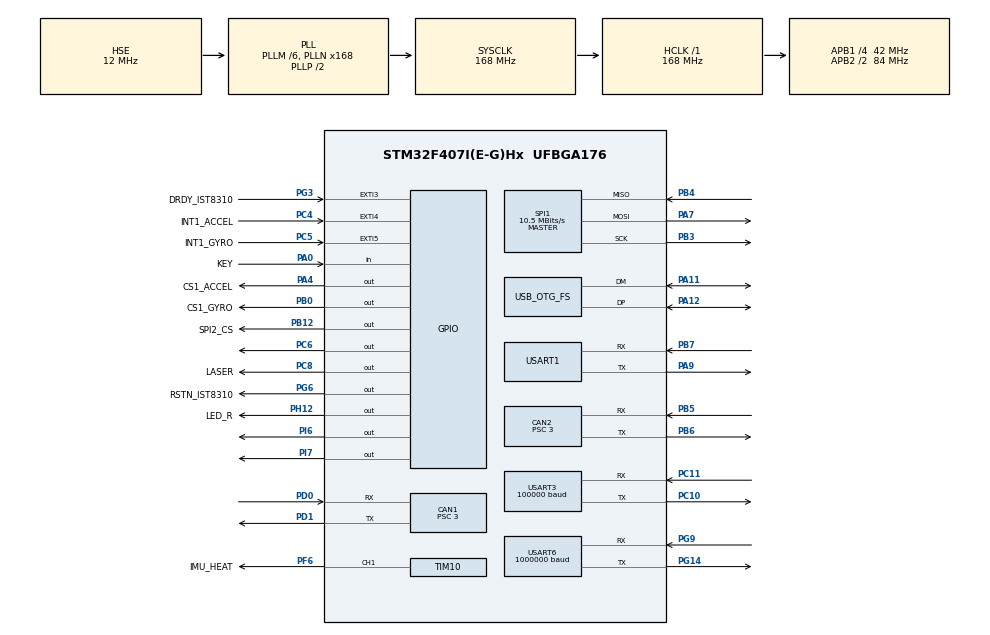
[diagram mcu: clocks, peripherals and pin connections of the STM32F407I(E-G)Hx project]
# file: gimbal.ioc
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CAN1.BS1=CAN_BS1_10TQ
CAN1.BS2=CAN_BS2_3TQ
CAN1.CalculateBaudRate=1000000
CAN1.CalculateTimeBit=1000
CAN1.CalculateTimeQuantum=71.42857142857143
CAN1.Prescaler=3
CAN2.BS1=CAN_BS1_10TQ
CAN2.BS2=CAN_BS2_3TQ
CAN2.CalculateBaudRate=1000000
CAN2.CalculateTimeBit=1000
CAN2.CalculateTimeQuantum=71.42857142857143
CAN2.Prescaler=3
Dma.Request0=SPI1_RX
Dma.Request1=SPI1_TX
Dma.Request2=USART3_RX
Dma.Request3=USART6_RX
Dma.Request4=USART6_TX
Dma.Request5=USART1_RX
Dma.Request6=USART1_TX
Dma.SPI1_RX.0.Direction=DMA_PERIPH_TO_MEMORY
Dma.SPI1_RX.0.FIFOMode=DMA_FIFOMODE_DISABLE
Dma.SPI1_RX.0.Instance=DMA2_Stream0
Dma.SPI1_RX.0.MemDataAlignment=DMA_MDATAALIGN_BYTE
Dma.SPI1_RX.0.MemInc=DMA_MINC_ENABLE
Dma.SPI1_RX.0.Mode=DMA_NORMAL
Dma.SPI1_RX.0.PeriphDataAlignment=DMA_PDATAALIGN_BYTE
Dma.SPI1_RX.0.PeriphInc=DMA_PINC_DISABLE
Dma.SPI1_RX.0.Priority=DMA_PRIORITY_VERY_HIGH
Dma.SPI1_TX.1.Direction=DMA_MEMORY_TO_PERIPH
Dma.SPI1_TX.1.FIFOMode=DMA_FIFOMODE_DISABLE
Dma.SPI1_TX.1.Instance=DMA2_Stream3
Dma.SPI1_TX.1.MemDataAlignment=DMA_MDATAALIGN_BYTE
Dma.SPI1_TX.1.MemInc=DMA_MINC_ENABLE
Dma.SPI1_TX.1.Mode=DMA_NORMAL
Dma.SPI1_TX.1.PeriphDataAlignment=DMA_PDATAALIGN_BYTE
Dma.SPI1_TX.1.PeriphInc=DMA_PINC_DISABLE
Dma.SPI1_TX.1.Priority=DMA_PRIORITY_HIGH
Dma.USART1_RX.5.Direction=DMA_PERIPH_TO_MEMORY
Dma.USART1_RX.5.FIFOMode=DMA_FIFOMODE_DISABLE
Dma.USART1_RX.5.Instance=DMA2_Stream2
Dma.USART1_RX.5.MemDataAlignment=DMA_MDATAALIGN_BYTE
Dma.USART1_RX.5.MemInc=DMA_MINC_ENABLE
Dma.USART1_RX.5.Mode=DMA_CIRCULAR
Dma.USART1_RX.5.PeriphDataAlignment=DMA_PDATAALIGN_BYTE
Dma.USART1_RX.5.PeriphInc=DMA_PINC_DISABLE
Dma.USART1_RX.5.Priority=DMA_PRIORITY_HIGH
Dma.USART1_TX.6.Direction=DMA_MEMORY_TO_PERIPH
Dma.USART1_TX.6.FIFOMode=DMA_FIFOMODE_DISABLE
Dma.USART1_TX.6.Instance=DMA2_Stream7
Dma.USART1_TX.6.MemDataAlignment=DMA_MDATAALIGN_BYTE
Dma.USART1_TX.6.MemInc=DMA_MINC_ENABLE
Dma.USART1_TX.6.Mode=DMA_NORMAL
Dma.USART1_TX.6.PeriphDataAlignment=DMA_PDATAALIGN_BYTE
Dma.USART1_TX.6.PeriphInc=DMA_PINC_DISABLE
Dma.USART1_TX.6.Priority=DMA_PRIORITY_HIGH
Dma.USART3_RX.2.Direction=DMA_PERIPH_TO_MEMORY
Dma.USART3_RX.2.FIFOMode=DMA_FIFOMODE_DISABLE
Dma.USART3_RX.2.Instance=DMA1_Stream1
Dma.USART3_RX.2.MemDataAlignment=DMA_MDATAALIGN_BYTE
Dma.USART3_RX.2.MemInc=DMA_MINC_ENABLE
Dma.USART3_RX.2.Mode=DMA_NORMAL
Dma.USART3_RX.2.PeriphDataAlignment=DMA_PDATAALIGN_BYTE
Dma.USART3_RX.2.PeriphInc=DMA_PINC_DISABLE
Dma.USART3_RX.2.Priority=DMA_PRIORITY_LOW
Dma.USART6_RX.3.Direction=DMA_PERIPH_TO_MEMORY
Dma.USART6_RX.3.FIFOMode=DMA_FIFOMODE_DISABLE
Dma.USART6_RX.3.Instance=DMA2_Stream1
Dma.USART6_RX.3.MemDataAlignment=DMA_MDATAALIGN_BYTE
Dma.USART6_RX.3.MemInc=DMA_MINC_ENABLE
Dma.USART6_RX.3.Mode=DMA_CIRCULAR
Dma.USART6_RX.3.PeriphDataAlignment=DMA_PDATAALIGN_BYTE
Dma.USART6_RX.3.PeriphInc=DMA_PINC_DISABLE
Dma.USART6_RX.3.Priority=DMA_PRIORITY_HIGH
Dma.USART6_TX.4.Direction=DMA_MEMORY_TO_PERIPH
Dma.USART6_TX.4.FIFOMode=DMA_FIFOMODE_DISABLE
Dma.USART6_TX.4.Instance=DMA2_Stream6
Dma.USART6_TX.4.MemDataAlignment=DMA_MDATAALIGN_BYTE
Dma.USART6_TX.4.MemInc=DMA_MINC_ENABLE
Dma.USART6_TX.4.Mode=DMA_NORMAL
Dma.USART6_TX.4.PeriphDataAlignment=DMA_PDATAALIGN_BYTE
Dma.USART6_TX.4.PeriphInc=DMA_PINC_DISABLE
Dma.USART6_TX.4.Priority=DMA_PRIORITY_HIGH
FREERTOS.INCLUDE_eTaskGetState=0
FREERTOS.INCLUDE_pcTaskGetTaskName=0
FREERTOS.INCLUDE_uxTaskGetStackHighWaterMark=1
FREERTOS.INCLUDE_vTaskCleanUpResources=0
FREERTOS.INCLUDE_vTaskDelayUntil=0
FREERTOS.INCLUDE_xEventGroupSetBitFromISR=0
FREERTOS.INCLUDE_xQueueGetMutexHolder=0
FREERTOS.INCLUDE_xSemaphoreGetMutexHolder=0
FREERTOS.INCLUDE_xTaskAbortDelay=0
FREERTOS.INCLUDE_xTaskGetCurrentTaskHandle=0
FREERTOS.INCLUDE_xTaskGetHandle=0
FREERTOS.INCLUDE_xTimerPendFunctionCall=0
FREERTOS.Tasks01=GIMBAL_Task,2,1024,gimbal_task,As weak,NULL,Dynamic,NULL,NULL;INSTask,2,1024,StartINSTask,Default,NULL,Dynamic,NULL,NULL;current_send,2,512,send_current_task,As weak,NULL,Dynamic,NULL,NULL;MODE_TASK,1,512,mode_task,As weak,NULL,Dynamic,NULL,NULL;VisionTask,1,1024,vision_task,As weak,NULL,Dynamic,NULL,NULL;REFEREETask,1,512,REFEREE_Task,As weak,NULL,Dynamic,NULL,NULL;detect_task,1,256,DETECT_task,As weak,NULL,Dynamic,NULL,NULL;VOFATask,1,256,StartVOFATask,As weak,NULL,Dynamic,NULL,NULL;SHOOT_TASK,0,512,shoot_task,As weak,NULL,Dynamic,NULL,NULL;TransmitTask,1,1024,Transmit_Data_Task,As weak,NULL,Dynamic,NULL,NULL;TRIGGERTASK,1,512,trigger_task,As weak,NULL,Dynamic,NULL,NULL
FREERTOS.configTOTAL_HEAP_SIZE=30000
FREERTOS.configUSE_STATS_FORMATTING_FUNCTIONS=1
FREERTOS.configUSE_TIMERS=0
FREERTOS.configUSE_TRACE_FACILITY=1
Mcu.Family=STM32F4
Mcu.Name=STM32F407I(E-G)Hx
Mcu.Package=UFBGA176
NVIC.CAN1_RX0_IRQn=true\:5\:0\:false\:false\:true\:true\:true\:true\:true
NVIC.CAN1_TX_IRQn=true\:5\:0\:false\:false\:true\:true\:true\:true\:true
NVIC.CAN2_RX1_IRQn=true\:5\:0\:false\:false\:true\:true\:true\:true\:true
NVIC.CAN2_TX_IRQn=true\:5\:0\:false\:false\:true\:true\:true\:true\:true
NVIC.DMA1_Stream1_IRQn=true\:5\:0\:false\:false\:true\:true\:false\:true\:true
NVIC.DMA2_Stream0_IRQn=true\:5\:0\:false\:false\:true\:true\:false\:true\:true
NVIC.DMA2_Stream1_IRQn=true\:5\:0\:false\:false\:true\:true\:false\:true\:true
NVIC.DMA2_Stream2_IRQn=true\:5\:0\:false\:false\:true\:true\:false\:true\:true
NVIC.DMA2_Stream3_IRQn=true\:5\:0\:false\:false\:true\:true\:false\:true\:true
NVIC.DMA2_Stream6_IRQn=true\:5\:0\:false\:false\:true\:true\:false\:true\:true
NVIC.DMA2_Stream7_IRQn=true\:5\:0\:false\:false\:true\:true\:false\:true\:true
NVIC.EXTI3_IRQn=true\:5\:0\:false\:false\:true\:true\:true\:true\:true
NVIC.EXTI4_IRQn=true\:5\:0\:false\:false\:true\:true\:true\:true\:true
NVIC.EXTI9_5_IRQn=true\:5\:0\:false\:false\:true\:true\:true\:true\:true
NVIC.OTG_FS_IRQn=true\:5\:0\:false\:false\:true\:true\:false\:true\:true
NVIC.PriorityGroup=NVIC_PRIORITYGROUP_4
NVIC.TIM2_IRQn=true\:15\:0\:false\:false\:true\:false\:false\:true\:true
NVIC.TimeBase=TIM2_IRQn
NVIC.TimeBaseIP=TIM2
NVIC.USART1_IRQn=true\:5\:0\:false\:false\:true\:true\:true\:true\:true
NVIC.USART3_IRQn=true\:5\:0\:false\:false\:false\:true\:true\:true\:true
NVIC.USART6_IRQn=true\:5\:0\:false\:false\:true\:true\:true\:true\:true
PA0-WKUP.GPIO_Label=KEY
PA0-WKUP.GPIO_PuPd=GPIO_PULLUP
PA0-WKUP.Signal=GPIO_Input
PA11.Mode=Device_Only
PA11.Signal=USB_OTG_FS_DM
PA12.Mode=Device_Only
PA12.Signal=USB_OTG_FS_DP
PA13.Mode=Serial_Wire
PA13.Signal=SYS_JTMS-SWDIO
PA14.Mode=Serial_Wire
PA14.Signal=SYS_JTCK-SWCLK
PA4.GPIO_Label=CS1_ACCEL
PA4.GPIO_ModeDefaultOutputPP=GPIO_MODE_OUTPUT_PP
PA4.GPIO_PuPd=GPIO_PULLUP
PA4.GPIO_Speed=GPIO_SPEED_FREQ_HIGH
PA4.PinState=GPIO_PIN_SET
PA4.Signal=GPIO_Output
PA7.GPIO_PuPd=GPIO_PULLUP
PA7.Mode=Full_Duplex_Master
PA7.Signal=SPI1_MOSI
PA9.Mode=Asynchronous
PA9.Signal=USART1_TX
PB0.GPIO_Label=CS1_GYRO
PB0.GPIO_PuPd=GPIO_PULLUP
PB0.GPIO_Speed=GPIO_SPEED_FREQ_HIGH
PB0.PinState=GPIO_PIN_SET
PB0.Signal=GPIO_Output
PB12.GPIO_Label=SPI2_CS
PB12.GPIO_PuPd=GPIO_PULLUP
PB12.GPIO_Speed=GPIO_SPEED_FREQ_MEDIUM
PB12.PinState=GPIO_PIN_SET
PB12.Signal=GPIO_Output
PB3.GPIO_PuPd=GPIO_PULLUP
PB3.Mode=Full_Duplex_Master
PB3.Signal=SPI1_SCK
PB4.GPIO_PuPd=GPIO_PULLUP
PB4.Mode=Full_Duplex_Master
PB4.Signal=SPI1_MISO
PB5.Mode=CAN_Activate
PB5.Signal=CAN2_RX
PB6.Mode=CAN_Activate
PB6.Signal=CAN2_TX
PB7.Mode=Asynchronous
PB7.Signal=USART1_RX
PC10.Mode=Asynchronous
PC10.Signal=USART3_TX
PC11.Mode=Asynchronous
PC11.Signal=USART3_RX
PC4.GPIO_Label=INT1_ACCEL
PC4.GPIO_PuPd=GPIO_PULLUP
PC4.Signal=GPXTI4
PC5.GPIO_Label=INT1_GYRO
PC5.GPIO_PuPd=GPIO_PULLUP
PC5.Signal=GPXTI5
PC6.PinState=GPIO_PIN_SET
PC6.Signal=GPIO_Output
PC8.GPIO_Label=LASER
PC8.Signal=GPIO_Output
PD0.Mode=CAN_Activate
PD0.Signal=CAN1_RX
PD1.Mode=CAN_Activate
PD1.Signal=CAN1_TX
PF6.GPIO_Label=IMU_HEAT
PF6.GPIO_PuPd=GPIO_PULLUP
PF6.GPIO_Speed=GPIO_SPEED_FREQ_HIGH
PF6.Signal=S_TIM10_CH1
PG14.GPIO_Speed=GPIO_SPEED_FREQ_HIGH
PG14.Mode=Asynchronous
PG14.Signal=USART6_TX
PG3.GPIO_Label=DRDY_IST8310
PG3.GPIO_PuPd=GPIO_PULLUP
PG3.Signal=GPXTI3
PG6.GPIO_Label=RSTN_IST8310
PG6.GPIO_PuPd=GPIO_PULLUP
PG6.GPIO_Speed=GPIO_SPEED_FREQ_MEDIUM
PG6.PinState=GPIO_PIN_SET
PG6.Signal=GPIO_Output
PG9.GPIO_Speed=GPIO_SPEED_FREQ_HIGH
PG9.Mode=Asynchronous
PG9.Signal=USART6_RX
PH0-OSC_IN.Mode=HSE-External-Oscillator
PH0-OSC_IN.Signal=RCC_OSC_IN
PH1-OSC_OUT.Mode=HSE-External-Oscillator
PH1-OSC_OUT.Signal=RCC_OSC_OUT
PH12.GPIO_Label=LED_R
PH12.Signal=GPIO_Output
PI6.GPIO_PuPd=GPIO_PULLUP
PI6.GPIO_Speed=GPIO_SPEED_FREQ_HIGH
PI6.PinState=GPIO_PIN_SET
PI6.Signal=GPIO_Output
PI7.GPIO_PuPd=GPIO_PULLUP
PI7.PinState=GPIO_PIN_SET
PI7.Signal=GPIO_Output
ProjectManager.HeapSize=0x4000
ProjectManager.StackSize=0x4000
ProjectManager.TargetToolchain=MDK-ARM V5
RCC.48MHZClocksFreq_Value=48000000
RCC.AHBFreq_Value=168000000
RCC.APB1CLKDivider=RCC_HCLK_DIV4
RCC.APB1Freq_Value=42000000
RCC.APB1TimFreq_Value=84000000
RCC.APB2CLKDivider=RCC_HCLK_DIV2
RCC.APB2Freq_Value=84000000
RCC.APB2TimFreq_Value=168000000
RCC.CortexFreq_Value=168000000
RCC.HCLKFreq_Value=168000000
RCC.HSE_VALUE=12000000
RCC.HSI_VALUE=16000000
RCC.LSE_VALUE=32768
RCC.PLLM=6
RCC.PLLN=168
RCC.PLLQ=7
RCC.RCC_RTC_Clock_SourceVirtual=RCC_RTCCLKSOURCE_HSE_DIV30
RCC.RCC_RTC_Clock_Source_FROM_HSE=RCC_RTCCLKSOURCE_HSE_DIV30
RCC.SYSCLKFreq_VALUE=168000000
RCC.SYSCLKSource=RCC_SYSCLKSOURCE_PLLCLK
RCC.VCOOutputFreq_Value=336000000
RTC.AsynchPrediv=124
RTC.SynchPrediv=3199
SH.S_TIM10_CH1.0=TIM10_CH1,PWM Generation1 CH1
SPI1.BaudRatePrescaler=SPI_BAUDRATEPRESCALER_8
SPI1.CLKPhase=SPI_PHASE_2EDGE
SPI1.CLKPolarity=SPI_POLARITY_HIGH
SPI1.CalculateBaudRate=10.5 MBits/s
SPI1.Direction=SPI_DIRECTION_2LINES
SPI1.Mode=SPI_MODE_MASTER
SPI1.VirtualType=VM_MASTER
TIM10.Channel=TIM_CHANNEL_1
TIM10.Period=1999
TIM10.Prescaler=83
USART1.VirtualMode=VM_ASYNC
USART3.BaudRate=100000
USART3.Parity=PARITY_EVEN
USART3.VirtualMode=VM_ASYNC
USART6.BaudRate=1000000
USART6.VirtualMode=VM_ASYNC
USB_DEVICE.CLASS_NAME_FS=CDC
USB_DEVICE.VirtualMode-CDC_FS=Cdc
USB_DEVICE.VirtualModeFS=Cdc_FS
USB_OTG_FS.VirtualMode=Device_Only
VP_FREERTOS_VS_CMSIS_V1.Mode=CMSIS_V1
VP_RTC_VS_RTC_Activate.Mode=RTC_Enabled
VP_SYS_VS_tim2.Mode=TIM2
VP_TIM10_VS_ClockSourceINT.Mode=Enable_Timer
VP_USB_DEVICE_VS_USB_DEVICE_CDC_FS.Mode=CDC_FS
board=custom

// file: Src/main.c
/* USER CODE BEGIN Header */
/**
  ******************************************************************************
  * @file           : main.c
  * @brief          : Main program body
  ******************************************************************************
  * @attention
  *
  * Copyright (c) 2025 STMicroelectronics.
  * All rights reserved.
  *
  * This software is licensed under terms that can be found in the LICENSE file
  * in the root directory of this software component.
  * If no LICENSE file comes with this software, it is provided AS-IS.
  *
  ******************************************************************************
  */
/* USER CODE END Header */
#include "main.h"
#include "cmsis_os.h"
#include "can.h"
#include "dma.h"
#include "rtc.h"
#include "spi.h"
#include "tim.h"
#include "usart.h"
#include "usb_device.h"
#include "gpio.h"

/* USER CODE BEGIN Includes */
#include "BMI088driver.h"
#include "bsp_dwt.h"
#include "arm_math.h"
#include "bsp_can.h"
#include "CAN_receive.h"
#include "remote_control.h"
/* USER CODE END Includes */

void SystemClock_Config(void);
void MX_FREERTOS_Init(void);

int main(void)
{

  /* MCU Configuration--------------------------------------------------------*/

  /* Reset of all peripherals, Initializes the Flash interface and the Systick. */
  HAL_Init();

  /* Configure the system clock */
  SystemClock_Config();

  /* Initialize all configured peripherals */
  MX_GPIO_Init();
  MX_DMA_Init();
  MX_SPI1_Init();
  MX_TIM10_Init();
  MX_CAN1_Init();
  MX_CAN2_Init();
  MX_USART3_UART_Init();
  MX_USART6_UART_Init();
  MX_USART1_UART_Init();
  MX_RTC_Init();
  /* USER CODE BEGIN 2 */
	 MX_USB_DEVICE_Init();
	remote_control_init();
	can1_user_init();
	can2_user_init();
	DWT_Init(168);
    while (BMI088_init(&hspi1, 1) != BMI088_NO_ERROR)
        ;
//		  MX_USART6_UART_Init();

  /* USER CODE END 2 */

  /* Call init function for freertos objects (in cmsis_os2.c) */
  MX_FREERTOS_Init();

  /* Start scheduler */
  osKernelStart();

  /* We should never get here as control is now taken by the scheduler */

  /* Infinite loop */
  while (1)
  {

  }
}

void SystemClock_Config(void)
{
  RCC_OscInitTypeDef RCC_OscInitStruct = {0};
  RCC_ClkInitTypeDef RCC_ClkInitStruct = {0};

  /** Configure the main internal regulator output voltage
  */
  __HAL_RCC_PWR_CLK_ENABLE();
  __HAL_PWR_VOLTAGESCALING_CONFIG(PWR_REGULATOR_VOLTAGE_SCALE1);

  /** Initializes the RCC Oscillators according to the specified parameters
  * in the RCC_OscInitTypeDef structure.
  */
  RCC_OscInitStruct.OscillatorType = RCC_OSCILLATORTYPE_HSE;
  RCC_OscInitStruct.HSEState = RCC_HSE_ON;
  RCC_OscInitStruct.PLL.PLLState = RCC_PLL_ON;
  RCC_OscInitStruct.PLL.PLLSource = RCC_PLLSOURCE_HSE;
  RCC_OscInitStruct.PLL.PLLM = 6;
  RCC_OscInitStruct.PLL.PLLN = 168;
  RCC_OscInitStruct.PLL.PLLP = RCC_PLLP_DIV2;
  RCC_OscInitStruct.PLL.PLLQ = 7;
  if (HAL_RCC_OscConfig(&RCC_OscInitStruct) != HAL_OK)
  {
    Error_Handler();
  }

  /** Initializes the CPU, AHB and APB buses clocks
  */
  RCC_ClkInitStruct.ClockType = RCC_CLOCKTYPE_HCLK|RCC_CLOCKTYPE_SYSCLK
                              |RCC_CLOCKTYPE_PCLK1|RCC_CLOCKTYPE_PCLK2;
  RCC_ClkInitStruct.SYSCLKSource = RCC_SYSCLKSOURCE_PLLCLK;
  RCC_ClkInitStruct.AHBCLKDivider = RCC_SYSCLK_DIV1;
  RCC_ClkInitStruct.APB1CLKDivider = RCC_HCLK_DIV4;
  RCC_ClkInitStruct.APB2CLKDivider = RCC_HCLK_DIV2;

  if (HAL_RCC_ClockConfig(&RCC_ClkInitStruct, FLASH_LATENCY_5) != HAL_OK)
  {
    Error_Handler();
  }
}

void HAL_TIM_PeriodElapsedCallback(TIM_HandleTypeDef *htim)
{
  if (htim->Instance == TIM2)
  {
    HAL_IncTick();
  }
}

void Error_Handler(void)
{
  __disable_irq();
  while (1)
  {
  }
}

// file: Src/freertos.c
/* USER CODE BEGIN Header */
/**
  ******************************************************************************
  * File Name          : freertos.c
  * Description        : Code for freertos applications
  ******************************************************************************
  * @attention
  *
  * Copyright (c) 2025 STMicroelectronics.
  * All rights reserved.
  *
  * This software is licensed under terms that can be found in the LICENSE file
  * in the root directory of this software component.
  * If no LICENSE file comes with this software, it is provided AS-IS.
  *
  ******************************************************************************
  */
/* USER CODE END Header */

#include "FreeRTOS.h"
#include "task.h"
#include "main.h"
#include "cmsis_os.h"

/* USER CODE BEGIN Includes */
#include "ins_task.h"
/* USER CODE END Includes */

osThreadId GIMBAL_TaskHandle;
osThreadId INSTaskHandle;
osThreadId current_sendHandle;
osThreadId MODE_TASKHandle;
osThreadId VisionTaskHandle;
osThreadId REFEREETaskHandle;
osThreadId detect_taskHandle;
osThreadId VOFATaskHandle;
osThreadId SHOOT_TASKHandle;
osThreadId TransmitTaskHandle;
osThreadId TRIGGERTASKHandle;

void gimbal_task(void const * argument);
void StartINSTask(void const * argument);
void send_current_task(void const * argument);
void mode_task(void const * argument);
void vision_task(void const * argument);
void REFEREE_Task(void const * argument);
void DETECT_task(void const * argument);
void StartVOFATask(void const * argument);
void shoot_task(void const * argument);
void Transmit_Data_Task(void const * argument);
void trigger_task(void const * argument);

extern void MX_USB_DEVICE_Init(void);
void MX_FREERTOS_Init(void); /* (MISRA C 2004 rule 8.1) */

/* GetIdleTaskMemory prototype (linked to static allocation support) */
void vApplicationGetIdleTaskMemory( StaticTask_t **ppxIdleTaskTCBBuffer, StackType_t **ppxIdleTaskStackBuffer, uint32_t *pulIdleTaskStackSize );

/* USER CODE BEGIN GET_IDLE_TASK_MEMORY */
static StaticTask_t xIdleTaskTCBBuffer;
static StackType_t xIdleStack[configMINIMAL_STACK_SIZE];

void vApplicationGetIdleTaskMemory( StaticTask_t **ppxIdleTaskTCBBuffer, StackType_t **ppxIdleTaskStackBuffer, uint32_t *pulIdleTaskStackSize )
{
  *ppxIdleTaskTCBBuffer = &xIdleTaskTCBBuffer;
  *ppxIdleTaskStackBuffer = &xIdleStack[0];
  *pulIdleTaskStackSize = configMINIMAL_STACK_SIZE;
  /* place for user code */
}
/* USER CODE END GET_IDLE_TASK_MEMORY */

void MX_FREERTOS_Init(void) {

  /* Create the thread(s) */
  /* definition and creation of GIMBAL_Task */
  osThreadDef(GIMBAL_Task, gimbal_task, osPriorityHigh, 0, 1024);
  GIMBAL_TaskHandle = osThreadCreate(osThread(GIMBAL_Task), NULL);

  /* definition and creation of INSTask */
  osThreadDef(INSTask, StartINSTask, osPriorityHigh, 0, 1024);
  INSTaskHandle = osThreadCreate(osThread(INSTask), NULL);

  /* definition and creation of current_send */
  osThreadDef(current_send, send_current_task, osPriorityHigh, 0, 512);
  current_sendHandle = osThreadCreate(osThread(current_send), NULL);

  /* definition and creation of MODE_TASK */
  osThreadDef(MODE_TASK, mode_task, osPriorityAboveNormal, 0, 512);
  MODE_TASKHandle = osThreadCreate(osThread(MODE_TASK), NULL);

  /* definition and creation of VisionTask */
  osThreadDef(VisionTask, vision_task, osPriorityAboveNormal, 0, 512);
  VisionTaskHandle = osThreadCreate(osThread(VisionTask), NULL);

  /* definition and creation of REFEREETask */
  osThreadDef(REFEREETask, REFEREE_Task, osPriorityAboveNormal, 0, 512);
  REFEREETaskHandle = osThreadCreate(osThread(REFEREETask), NULL);

  /* definition and creation of detect_task */
  osThreadDef(detect_task, DETECT_task, osPriorityAboveNormal, 0, 256);
  detect_taskHandle = osThreadCreate(osThread(detect_task), NULL);

  /* definition and creation of VOFATask */
  osThreadDef(VOFATask, StartVOFATask, osPriorityAboveNormal, 0, 256);
  VOFATaskHandle = osThreadCreate(osThread(VOFATask), NULL);

  /* definition and creation of SHOOT_TASK */
  osThreadDef(SHOOT_TASK, shoot_task, osPriorityNormal, 0, 512);
  SHOOT_TASKHandle = osThreadCreate(osThread(SHOOT_TASK), NULL);

  /* definition and creation of TransmitTask */
  osThreadDef(TransmitTask, Transmit_Data_Task, osPriorityAboveNormal, 0, 512);
  TransmitTaskHandle = osThreadCreate(osThread(TransmitTask), NULL);

  /* definition and creation of TRIGGERTASK */
  osThreadDef(TRIGGERTASK, trigger_task, osPriorityAboveNormal, 0, 512);
  TRIGGERTASKHandle = osThreadCreate(osThread(TRIGGERTASK), NULL);

}

__weak void gimbal_task(void const * argument)
{
  /* init code for USB_DEVICE */
  MX_USB_DEVICE_Init();
  for(;;)
  {
    osDelay(1);
  }
}

void StartINSTask(void const * argument)
{
  /* USER CODE BEGIN StartINSTask */
  /* Infinite loop */
	INS_Init();
  for(;;)
  {
		INS_Task();
    osDelay(1);
  }
  /* USER CODE END StartINSTask */
}

__weak void send_current_task(void const * argument)
{
  for(;;)
  {
    osDelay(1);
  }
}

__weak void mode_task(void const * argument)
{
  for(;;)
  {
    osDelay(1);
  }
}

__weak void vision_task(void const * argument)
{
  for(;;)
  {
    osDelay(1);
  }
}

__weak void REFEREE_Task(void const * argument)
{
  for(;;)
  {
    osDelay(1);
  }
}

__weak void DETECT_task(void const * argument)
{
  for(;;)
  {
    osDelay(1);
  }
}

__weak void StartVOFATask(void const * argument)
{
  for(;;)
  {
    osDelay(1);
  }
}

__weak void shoot_task(void const * argument)
{
  for(;;)
  {
    osDelay(1);
  }
}

__weak void Transmit_Data_Task(void const * argument)
{
  for(;;)
  {
    osDelay(1);
  }
}

__weak void trigger_task(void const * argument)
{
  for(;;)
  {
    osDelay(1);
  }
}
